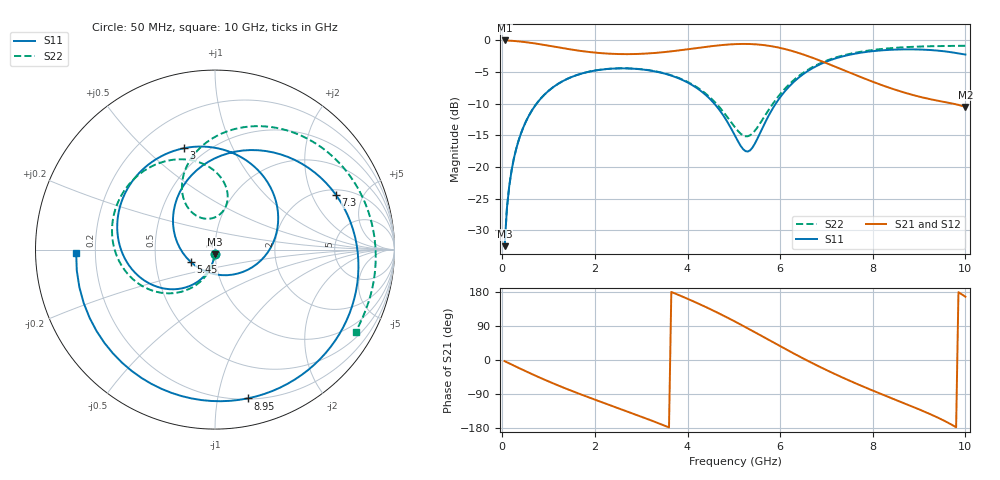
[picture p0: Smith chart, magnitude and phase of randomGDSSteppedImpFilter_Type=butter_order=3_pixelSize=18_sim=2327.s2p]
! freq	dB(S11)	phase(S11)	dB(S12)	phase(S12)
!  dB(S21)	phase(S21)	dB(S22)	phase(S22)
!S-par simulation data
#  GHz  S  DB  R 50
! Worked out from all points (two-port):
!   200 points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, 50 MHz to 10 GHz, reference 50 ohm
!   highest |S21| = 0.00 dB at 50 MHz (marker M1); lowest = -10.5 dB at 10 GHz (marker M2)
!   |S21| within 3 dB of the highest: start of sweep to 6.795 GHz
!   lowest |S11| = -32.5 dB at 50 MHz (marker M3), VSWR 1.05, Z = 49.8 - j2.36 ohm
!   |S11| at or under -10 dB: start of sweep to 740.1 MHz; 4.58 GHz to 5.904 GHz (1.325 GHz wide, 25.3 % of centre)
!   |S22| runs from -32.5 to -0.8 dB; largest |S21 - S12| = 0
!   S11 on the Smith chart (normalised r, x): 50 MHz: 1.00, -0.05; 3 GHz: 0.38, +0.67; 5.45 GHz: 0.75, -0.11; 7.3 GHz: 2.28, +3.06; 8.95 GHz: 0.21, -1.22; 10 GHz: 0.13, -0.01
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0.05  -32.51 -93.3  -0.00 -3.0  -0.00 -3.0  -32.51 -93.0
0.1  -26.51 -96.5  -0.02 -6.0  -0.02 -6.0  -26.50 -95.9
0.2  -20.56 -103.0  -0.06 -11.9  -0.06 -11.9  -20.55 -101.7
0.5  -12.97 -121.5  -0.27 -29.3  -0.27 -29.3  -12.97 -118.3
1.1  -7.38 -156.0  -0.96 -61.8  -0.96 -61.8  -7.37 -148.7
1.75  -5.16 170.0  -1.71 -93.3  -1.71 -93.3  -5.15 -177.6
2.35  -4.47 140.2  -2.11 -120.3  -2.11 -120.3  -4.46 158.2
3  -4.57 107.2  -2.11 -149.5  -2.11 -149.5  -4.55 133.3
3.4  -5.05 85.4  -1.91 -168.2  -1.91 -168.2  -5.02 118.1
4.3  -8.05 27.1  -1.11 145.2  -1.11 145.2  -7.88 85.4
5.05  -15.40 -55.4  -0.58 99.9  -0.58 99.9  -13.96 81.5
5.25  -17.49 -101.2  -0.55 86.8  -0.55 86.8  -15.15 96.3
5.45  -16.35 -153.4  -0.60 73.5  -0.60 73.5  -14.31 113.4
6.05  -8.50 121.5  -1.27 33.2  -1.27 33.2  -8.05 117.8
6.7  -4.38 66.5  -2.74 -8.6  -2.74 -8.6  -4.21 92.0
7.3  -2.62 24.3  -4.48 -43.7  -4.48 -43.7  -2.49 65.4
7.8  -1.88 -7.3  -5.96 -70.5  -5.96 -70.5  -1.72 44.4
8.35  -1.49 -40.3  -7.46 -98.1  -7.46 -98.1  -1.24 23.0
8.95  -1.42 -77.6  -8.79 -127.7  -8.79 -127.7  -0.98 1.7
9.5  -1.68 -119.8  -9.66 -157.7  -9.66 -157.7  -0.89 -16.0
9.75  -1.93 -145.5  -10.02 -173.9  -10.02 -173.9  -0.87 -23.4
10  -2.23 -178.8  -10.52 166.9  -10.52 166.9  -0.84 -30.4
